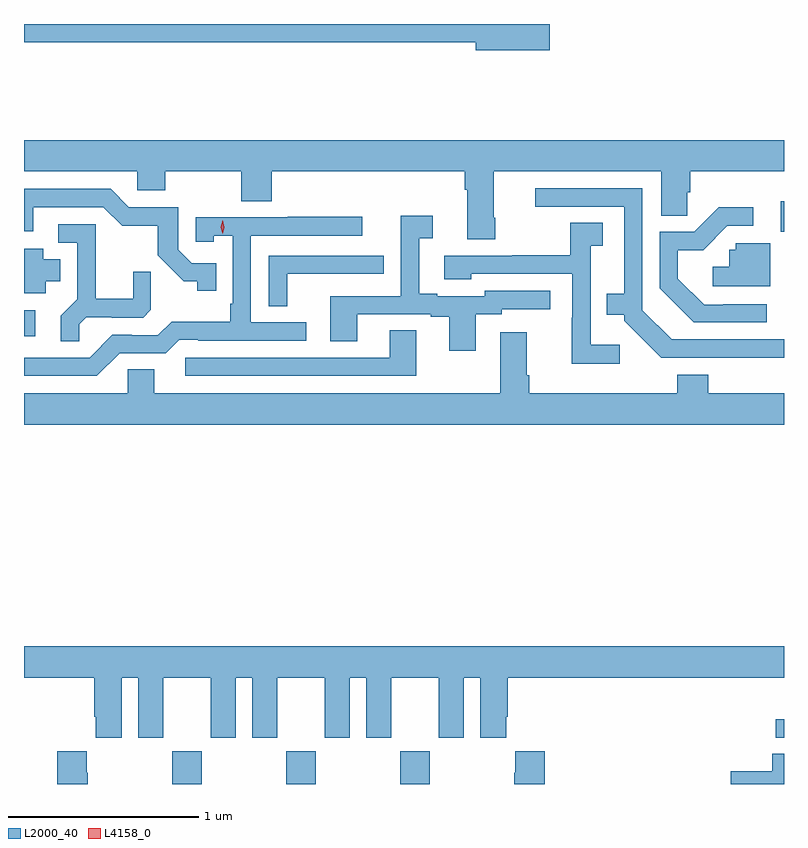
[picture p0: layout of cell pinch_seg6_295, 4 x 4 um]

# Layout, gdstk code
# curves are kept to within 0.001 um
import gdstk
lib = gdstk.Library(unit=1e-6, precision=1e-09)
def R(c, l, rs):  # rectangles x0, y0, x1, y1
    for r in rs: c.add(gdstk.rectangle(r[:2], r[2:], *l))
def A(c, l, x, y, w, h, nx, ny, dx, dy):  # array of equal rectangles
    R(c, l, [(x+i*dx, y+j*dy, x+i*dx+w, y+j*dy+h) for i in range(nx) for j in range(ny)])
def P(c, l, *ps):  # polygons
    for p in ps: c.add(gdstk.Polygon(p, *l))
L2000_40 = (2000, 40)
L4158_0 = (4158, 0)

pinch_seg6_295 = lib.new_cell('pinch_seg6_295')
A(pinch_seg6_295, L2000_40, 796.225, 976.08, 0.155, 0.172, 3, 1, 0.6, 0)
R(pinch_seg6_295, L2000_40, [(799.401,976.323,799.444,976.422), (795.444,978.437,795.502,978.573), (799.427,978.986,799.444,979.147)])
P(pinch_seg6_295, L2000_40, [(798.211,980.08),(795.444,980.08),(795.444,979.984),(797.822,979.984),(797.822,979.942),(798.211,979.942)],
  [(797.925,979.06),(797.917,979.06),(797.917,979.304),(798.797,979.304),(798.797,979.072),(798.935,979.072),(798.935,979.194),(798.95,979.194),(798.95,979.304),(799.444,979.304),(799.444,979.468),(795.444,979.468),(795.444,979.304),(796.041,979.304),(796.041,979.206),(796.188,979.206),(796.188,979.304),(796.588,979.304),(796.588,979.147),(796.748,979.147),(796.748,979.304),(797.765,979.304),(797.765,979.208),(797.777,979.208),(797.777,978.948),(797.925,978.948)],
  [(799.444,978.42),(798.852,978.42),(798.699,978.573),(798.699,979.215),(798.135,979.215),(798.135,979.119),(798.602,979.119),(798.602,978.661),(798.511,978.661),(798.511,978.551),(798.603,978.551),(798.603,978.519),(798.798,978.324),(799.444,978.323)],
  [(796.457,978.822),(796.326,978.822),(796.257,978.891),(796.257,979.116),(795.996,979.116),(795.9,979.212),(795.444,979.212),(795.444,978.99),(795.493,978.99),(795.493,979.116),(795.861,979.116),(795.96,979.018),(796.149,979.018),(796.149,978.862),(796.286,978.725),(796.356,978.725),(796.356,978.675),(796.457,978.675)],
  [(799.354,978.606),(799.123,978.606),(799.123,978.603),(799.023,978.603),(798.886,978.74),(798.886,978.89),(799.019,978.89),(799.146,979.017),(799.282,979.017),(799.282,979.115),(799.1,979.115),(798.972,978.987),(798.789,978.987),(798.789,978.689),(798.968,978.51),(799.354,978.51)],
  [(797.821,978.552),(797.958,978.552),(797.958,978.579),(798.214,978.579),(798.214,978.675),(797.868,978.675),(797.868,978.648),(797.62,978.648),(797.62,978.661),(797.524,978.661),(797.524,978.952),(797.596,978.952),(797.596,979.072),(797.427,979.072),(797.427,978.648),(797.057,978.648),(797.057,978.409),(797.197,978.409),(797.197,978.552),(797.585,978.552),(797.585,978.54),(797.681,978.54),(797.681,978.36),(797.821,978.36)],
  [(795.948,978.348),(796.191,978.348),(796.26,978.417),(796.36,978.417),(796.36,978.414),(796.93,978.414),(796.93,978.51),(796.638,978.51),(796.638,978.966),(797.224,978.966),(797.224,979.065),(796.831,979.065),(796.831,979.062),(796.347,979.062),(796.347,978.933),(796.443,978.933),(796.443,978.965),(796.542,978.965),(796.542,978.607),(796.53,978.607),(796.53,978.514),(796.222,978.514),(796.149,978.441),(796.01,978.441),(796.01,978.444),(795.909,978.444),(795.789,978.324),(795.444,978.324),(795.444,978.228),(795.828,978.228)],
  [(798.58,978.391),(798.426,978.391),(798.426,978.913),(798.49,978.913),(798.49,979.034),(798.318,979.034),(798.318,978.864),(798.013,978.864),(798.013,978.861),(797.655,978.861),(797.655,978.737),(797.799,978.737),(797.799,978.765),(798.33,978.765),(798.33,978.533),(798.328,978.533),(798.328,978.293),(798.58,978.293)],
  [(795.735,978.5),(795.772,978.537),(795.906,978.537),(795.906,978.534),(796.071,978.534),(796.112,978.575),(796.112,978.777),(796.018,978.777),(796.018,978.634),(795.821,978.634),(795.821,979.026),(795.624,979.026),(795.624,978.93),(795.723,978.93),(795.723,978.631),(795.637,978.545),(795.637,978.409),(795.735,978.409)],
  [(799.372,978.927),(799.191,978.927),(799.191,978.891),(799.155,978.891),(799.155,978.802),(799.068,978.802),(799.068,978.699),(799.372,978.699)],
  [(795.559,978.725),(795.634,978.725),(795.634,978.841),(795.544,978.841),(795.544,978.898),(795.444,978.898),(795.444,978.662),(795.559,978.662)],
  [(796.83,978.765),(797.225,978.765),(797.225,978.766),(797.338,978.766),(797.338,978.861),(796.731,978.861),(796.731,978.595),(796.83,978.595)],
  [(797.509,978.467),(797.369,978.467),(797.369,978.324),(796.293,978.324),(796.293,978.228),(797.509,978.228)],
  [(799.444,978.136),(799.046,978.136),(799.046,978.235),(798.881,978.235),(798.881,978.136),(798.104,978.136),(798.104,978.232),(798.091,978.232),(798.091,978.457),(797.951,978.457),(797.951,978.136),(796.129,978.136),(796.129,978.263),(795.99,978.263),(795.99,978.136),(795.444,978.136),(795.444,977.972),(799.444,977.972)],
  [(795.958,976.64),(796.046,976.64),(796.046,976.323),(796.177,976.323),(796.177,976.64),(796.427,976.64),(796.427,976.323),(796.558,976.323),(796.558,976.64),(796.646,976.64),(796.646,976.323),(796.777,976.323),(796.777,976.64),(797.027,976.64),(797.027,976.323),(797.158,976.323),(797.158,976.64),(797.246,976.64),(797.246,976.323),(797.377,976.323),(797.377,976.64),(797.627,976.64),(797.627,976.323),(797.758,976.323),(797.758,976.64),(797.846,976.64),(797.846,976.323),(797.983,976.323),(797.983,976.435),(797.99,976.435),(797.99,976.64),(799.444,976.64),(799.444,976.804),(795.444,976.804),(795.444,976.64),(795.815,976.64),(795.815,976.435),(795.821,976.435),(795.821,976.323),(795.958,976.323)],
  [(795.78,976.139),(795.775,976.139),(795.775,976.252),(795.62,976.252),(795.62,976.08),(795.78,976.08)],
  [(798.185,976.252),(798.029,976.252),(798.029,976.139),(798.025,976.139),(798.025,976.08),(798.185,976.08)],
  [(799.444,976.238),(799.382,976.238),(799.382,976.148),(799.164,976.148),(799.164,976.08),(799.444,976.08)])
P(pinch_seg6_295, L4158_0, [(796.489,978.975),(796.489,978.975),(796.479,979.011),(796.489,979.047),(796.49,979.047),(796.49,979.047),(796.499,979.011),(796.489,978.975)])

lib.write_gds('pinch_seg6_295.gds')
